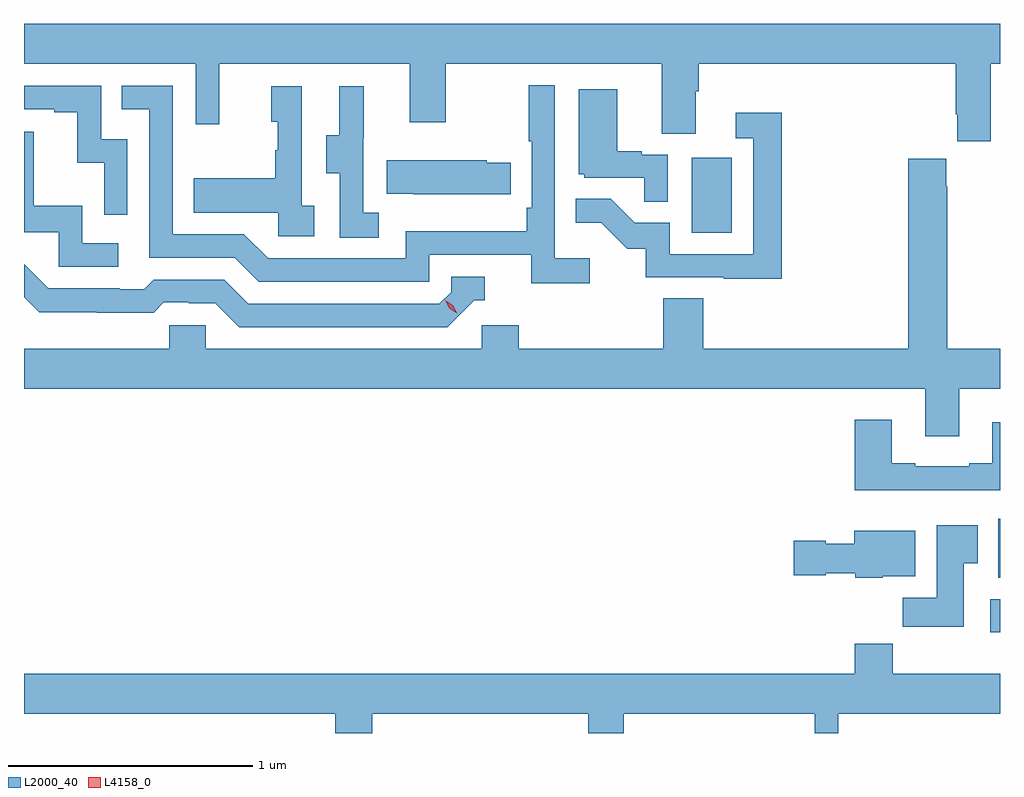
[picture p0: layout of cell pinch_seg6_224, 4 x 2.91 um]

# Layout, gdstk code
import gdstk
lib = gdstk.Library(unit=1e-6, precision=1e-09)
def R(c, l, rs):  # rectangles x0, y0, x1, y1
    for r in rs: c.add(gdstk.rectangle(r[:2], r[2:], *l))
def P(c, l, *ps):  # polygons
    for p in ps: c.add(gdstk.Polygon(p, *l))
L2000_40 = (2000, 40)
L4158_0 = (4158, 0)

pinch_seg6_224 = lib.new_cell('pinch_seg6_224')
R(pinch_seg6_224, L2000_40, [(1132.953,931.688,1132.992,931.822), (1132.985,931.91,1132.992,932.152), (1131.728,933.324,1131.892,933.631)])
P(pinch_seg6_224, L2000_40, [(1132.954,934.016),(1132.992,934.016),(1132.992,934.18),(1128.992,934.18),(1128.992,934.016),(1129.695,934.016),(1129.695,933.768),(1129.793,933.768),(1129.793,934.016),(1130.573,934.016),(1130.573,933.777),(1130.721,933.777),(1130.721,934.016),(1131.605,934.016),(1131.605,933.73),(1131.745,933.73),(1131.745,933.904),(1131.758,933.904),(1131.758,934.016),(1132.811,934.016),(1132.811,933.811),(1132.817,933.811),(1132.817,933.699),(1132.954,933.699)],
  [(1131.31,933.22),(1131.168,933.22),(1131.168,933.928),(1131.06,933.928),(1131.06,933.7),(1131.072,933.7),(1131.072,933.427),(1131.052,933.427),(1131.052,933.331),(1130.556,933.331),(1130.556,933.219),(1129.992,933.219),(1129.893,933.318),(1129.602,933.318),(1129.602,933.927),(1129.393,933.927),(1129.393,933.831),(1129.506,933.831),(1129.506,933.222),(1129.856,933.222),(1129.955,933.123),(1130.652,933.123),(1130.652,933.234),(1131.071,933.234),(1131.071,933.118),(1131.31,933.118)],
  [(1129.416,933.708),(1129.308,933.708),(1129.308,933.927),(1128.992,933.927),(1128.992,933.831),(1129.115,933.831),(1129.115,933.819),(1129.211,933.819),(1129.211,933.611),(1129.32,933.611),(1129.32,933.399),(1129.416,933.399)],
  [(1130.446,933.407),(1130.382,933.407),(1130.382,933.711),(1130.384,933.711),(1130.384,933.925),(1130.285,933.925),(1130.285,933.723),(1130.231,933.723),(1130.231,933.568),(1130.286,933.568),(1130.286,933.304),(1130.446,933.304)],
  [(1130.182,933.434),(1130.13,933.434),(1130.13,933.925),(1130.006,933.925),(1130.006,933.78),(1130.032,933.78),(1130.032,933.662),(1130.022,933.662),(1130.022,933.547),(1129.687,933.547),(1129.687,933.407),(1130.034,933.407),(1130.034,933.309),(1130.182,933.309)],
  [(1131.63,933.645),(1131.524,933.645),(1131.524,933.658),(1131.424,933.658),(1131.424,933.913),(1131.266,933.913),(1131.266,933.564),(1131.288,933.564),(1131.288,933.549),(1131.535,933.549),(1131.535,933.451),(1131.63,933.451)],
  [(1132.097,933.817),(1131.909,933.817),(1131.909,933.711),(1131.981,933.711),(1131.981,933.237),(1131.639,933.237),(1131.639,933.366),(1131.495,933.366),(1131.397,933.464),(1131.253,933.464),(1131.253,933.365),(1131.357,933.365),(1131.464,933.258),(1131.541,933.258),(1131.541,933.141),(1131.859,933.141),(1131.859,933.136),(1132.097,933.136)],
  [(1129.378,933.282),(1129.23,933.282),(1129.23,933.436),(1129.031,933.436),(1129.031,933.739),(1128.992,933.739),(1128.992,933.327),(1129.134,933.327),(1129.134,933.186),(1129.378,933.186)],
  [(1132.825,932.684),(1132.992,932.684),(1132.992,932.848),(1132.776,932.848),(1132.776,933.515),(1132.771,933.515),(1132.771,933.628),(1132.616,933.628),(1132.616,932.848),(1131.776,932.848),(1131.776,933.056),(1131.611,933.056),(1131.611,932.848),(1131.02,932.848),(1131.02,932.946),(1130.868,932.946),(1130.868,932.848),(1129.737,932.848),(1129.737,932.946),(1129.587,932.946),(1129.587,932.848),(1128.992,932.848),(1128.992,932.684),(1132.685,932.684),(1132.685,932.49),(1132.825,932.49)],
  [(1130.987,933.612),(1130.889,933.612),(1130.889,933.622),(1130.479,933.622),(1130.479,933.485),(1130.587,933.485),(1130.587,933.482),(1130.987,933.482)],
  [(1130.838,933.048),(1130.881,933.048),(1130.881,933.144),(1130.742,933.144),(1130.742,933.081),(1130.694,933.033),(1129.911,933.033),(1129.812,933.132),(1129.523,933.132),(1129.484,933.093),(1129.385,933.093),(1129.385,933.096),(1129.092,933.096),(1128.992,933.196),(1128.992,933.061),(1129.054,932.999),(1129.29,932.999),(1129.29,932.997),(1129.523,932.997),(1129.565,933.039),(1129.668,933.039),(1129.668,933.036),(1129.775,933.036),(1129.874,932.937),(1130.727,932.937)],
  [(1132.992,932.548),(1132.961,932.548),(1132.961,932.38),(1132.865,932.38),(1132.865,932.367),(1132.645,932.367),(1132.645,932.38),(1132.549,932.38),(1132.549,932.557),(1132.397,932.557),(1132.397,932.27),(1132.992,932.27)],
  [(1132.843,931.969),(1132.9,931.969),(1132.9,932.125),(1132.733,932.125),(1132.733,931.828),(1132.594,931.828),(1132.594,931.71),(1132.843,931.71)],
  [(1132.512,931.916),(1132.645,931.916),(1132.645,932.104),(1132.394,932.104),(1132.394,932.05),(1132.278,932.05),(1132.278,932.063),(1132.146,932.063),(1132.146,931.921),(1132.278,931.921),(1132.278,931.928),(1132.398,931.928),(1132.398,931.91),(1132.512,931.91)],
  [(1130.419,931.352),(1131.304,931.352),(1131.304,931.274),(1131.451,931.274),(1131.451,931.352),(1132.232,931.352),(1132.232,931.274),(1132.329,931.274),(1132.329,931.352),(1132.992,931.352),(1132.992,931.516),(1132.553,931.516),(1132.553,931.64),(1132.397,931.64),(1132.397,931.516),(1128.992,931.516),(1128.992,931.352),(1130.267,931.352),(1130.267,931.274),(1130.419,931.274)])
P(pinch_seg6_224, L4158_0, [(1130.766,932.995),(1130.735,933.015),(1130.718,933.047),(1130.718,933.047),(1130.719,933.047),(1130.75,933.028),(1130.766,932.996),(1130.766,932.995)])

lib.write_gds('pinch_seg6_224.gds')
